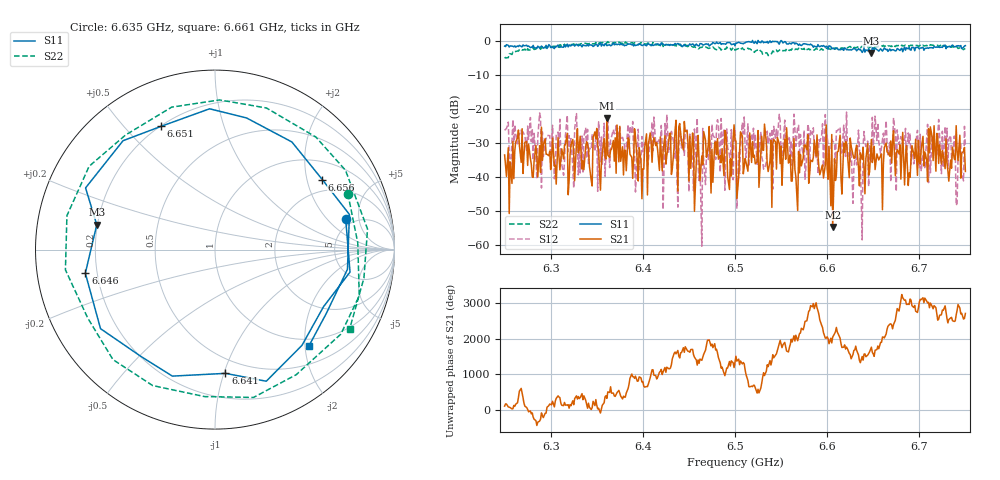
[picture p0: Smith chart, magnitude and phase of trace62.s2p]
# Hz S RI R 50
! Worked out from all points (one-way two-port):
!   401 points, 6.25 GHz to 6.75 GHz, reference 50 ohm
!   highest |S21| = -22.65 dB at 6.361 GHz (marker M1); lowest = -54.7 dB at 6.606 GHz (marker M2)
!   lowest |S11| = -3.4 dB at 6.648 GHz (marker M3), VSWR 5.12, Z = 9.87 + j4.99 ohm
!   |S11| at or under -10 dB: nowhere
!   |S22| runs from -5.0 to -0.1 dB; largest |S21 - S12| = 0.11
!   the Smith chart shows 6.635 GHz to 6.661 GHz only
!   S11 on the Smith chart (normalised r, x): 6.635 GHz: 4.33, +3.29; 6.641 GHz: 0.38, -1.01; 6.646 GHz: 0.15, -0.09; 6.651 GHz: 0.20, +0.64; 6.656 GHz: 1.56, +2.48; 6.661 GHz: 0.84, -2.08
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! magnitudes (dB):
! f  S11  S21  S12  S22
! 6.25 GHz  -1.4  -33.5  -26.3  -5.0
! 6.334 GHz  -1.7  -37.6  -27.9  -0.7
! 6.361 GHz  -1.3  -22.7  -30.6  -0.5
! 6.418 GHz  -1.0  -38.0  -28.7  -1.2
! 6.462 GHz  -0.7  -41.1  -35.8  -1.9
! 6.482 GHz  -0.7  -34.7  -24.3  -1.8
! 6.5 GHz  -1.3  -29.1  -25.6  -2.6
! 6.509 GHz  -0.7  -39.0  -27.3  -2.4
! 6.531 GHz  -0.5  -32.1  -37.6  -3.6
! 6.546 GHz  -0.1  -28.4  -28.6  -3.1
! 6.584 GHz  -1.2  -35.4  -27.4  -2.4
! 6.606 GHz  -2.0  -54.7  -29.4  -2.1
! 6.62 GHz  -2.2  -29.5  -33.9  -2.0
! 6.635 GHz  -2.5  -42.6  -31.5  -1.9
! 6.641 GHz  -3.2  -44.9  -29.8  -1.4
! 6.646 GHz  -2.7  -38.5  -30.4  -1.9
! 6.648 GHz  -3.4  -28.9  -35.4  -1.5
! 6.651 GHz  -2.5  -31.0  -27.9  -1.8
! 6.656 GHz  -2.9  -35.0  -29.6  -1.5
! 6.661 GHz  -2.5  -36.3  -27.1  -1.2
! 6.668 GHz  -2.3  -33.8  -29.5  -1.4
! 6.75 GHz  -1.3  -38.3  -31.2  -2.2
